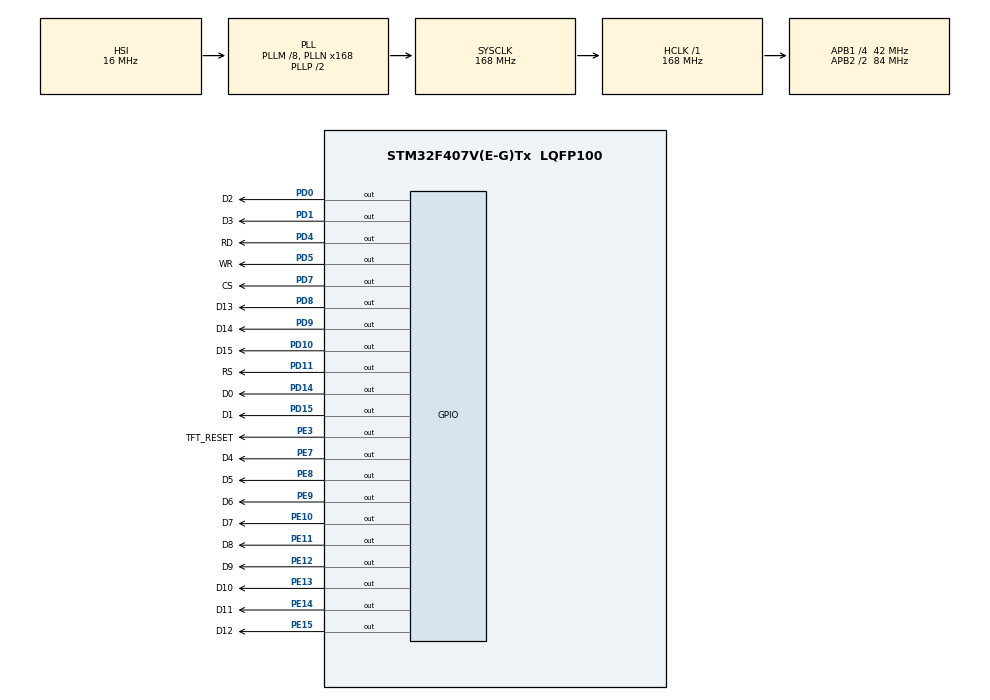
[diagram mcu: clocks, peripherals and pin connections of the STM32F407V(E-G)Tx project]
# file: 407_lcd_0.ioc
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Mcu.Family=STM32F4
Mcu.Name=STM32F407V(E-G)Tx
Mcu.Package=LQFP100
NVIC.PriorityGroup=NVIC_PRIORITYGROUP_4
PD0.GPIO_Label=D2
PD0.Signal=GPIO_Output
PD1.GPIO_Label=D3
PD1.Signal=GPIO_Output
PD10.GPIO_Label=D15
PD10.Signal=GPIO_Output
PD11.GPIO_Label=RS
PD11.Signal=GPIO_Output
PD14.GPIO_Label=D0
PD14.Signal=GPIO_Output
PD15.GPIO_Label=D1
PD15.Signal=GPIO_Output
PD4.GPIO_Label=RD
PD4.PinState=GPIO_PIN_SET
PD4.Signal=GPIO_Output
PD5.GPIO_Label=WR
PD5.PinState=GPIO_PIN_SET
PD5.Signal=GPIO_Output
PD7.GPIO_Label=CS
PD7.PinState=GPIO_PIN_SET
PD7.Signal=GPIO_Output
PD8.GPIO_Label=D13
PD8.Signal=GPIO_Output
PD9.GPIO_Label=D14
PD9.Signal=GPIO_Output
PE10.GPIO_Label=D7
PE10.Signal=GPIO_Output
PE11.GPIO_Label=D8
PE11.Signal=GPIO_Output
PE12.GPIO_Label=D9
PE12.Signal=GPIO_Output
PE13.GPIO_Label=D10
PE13.Signal=GPIO_Output
PE14.GPIO_Label=D11
PE14.Signal=GPIO_Output
PE15.GPIO_Label=D12
PE15.Signal=GPIO_Output
PE3.GPIO_Label=TFT_RESET
PE3.PinState=GPIO_PIN_SET
PE3.Signal=GPIO_Output
PE7.GPIO_Label=D4
PE7.Signal=GPIO_Output
PE8.GPIO_Label=D5
PE8.Signal=GPIO_Output
PE9.GPIO_Label=D6
PE9.Signal=GPIO_Output
PH0-OSC_IN.Mode=HSE-External-Oscillator
PH0-OSC_IN.Signal=RCC_OSC_IN
PH1-OSC_OUT.Mode=HSE-External-Oscillator
PH1-OSC_OUT.Signal=RCC_OSC_OUT
ProjectManager.HeapSize=0x200
ProjectManager.StackSize=0x400
ProjectManager.TargetToolchain=STM32CubeIDE
RCC.48MHZClocksFreq_Value=84000000
RCC.AHBFreq_Value=168000000
RCC.APB1CLKDivider=RCC_HCLK_DIV4
RCC.APB1Freq_Value=42000000
RCC.APB1TimFreq_Value=84000000
RCC.APB2CLKDivider=RCC_HCLK_DIV2
RCC.APB2Freq_Value=84000000
RCC.APB2TimFreq_Value=168000000
RCC.CortexFreq_Value=168000000
RCC.HCLKFreq_Value=168000000
RCC.HSE_VALUE=25000000
RCC.HSI_VALUE=16000000
RCC.LSE_VALUE=32768
RCC.PLLM=8
RCC.PLLN=168
RCC.SYSCLKFreq_VALUE=168000000
RCC.SYSCLKSource=RCC_SYSCLKSOURCE_PLLCLK
RCC.VCOOutputFreq_Value=336000000
board=custom

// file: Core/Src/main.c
/* USER CODE BEGIN Header */
/**
  ******************************************************************************
  * @file           : main.c
  * @brief          : Main program body
  ******************************************************************************
  * @attention
  *
  * Copyright (c) 2023 STMicroelectronics.
  * All rights reserved.
  *
  * This software is licensed under terms that can be found in the LICENSE file
  * in the root directory of this software component.
  * If no LICENSE file comes with this software, it is provided AS-IS.
  *
  ******************************************************************************
  */
/* USER CODE END Header */
#include "main.h"

/* USER CODE BEGIN Includes */
#include "ILI9341_STM32_Driver.h"
/* USER CODE END Includes */

void SystemClock_Config(void);
static void MX_GPIO_Init(void);

int main(void)
{

  /* MCU Configuration--------------------------------------------------------*/

  /* Reset of all peripherals, Initializes the Flash interface and the Systick. */
  HAL_Init();

  /* Configure the system clock */
  SystemClock_Config();

  /* Initialize all configured peripherals */
  MX_GPIO_Init();
  /* USER CODE BEGIN 2 */
  ILI9341_Init();
  /* USER CODE END 2 */

  /* Infinite loop */
  /* USER CODE BEGIN WHILE */
#if (TEST_TFT_LCD == 1)
  uint32_t i = 0;
  extern uint32_t lcd_colors[19];
#endif

  while (1)
  {
#if (TEST_TFT_LCD == 1)
	  ILI9341_Lcd_Clear(lcd_colors[i]);
#if 0
	  ILI9341_Draw_Num(0, 40, 2345, 4, RED, WHITE);
#endif
	  i = (i + 1) % 19;
	  HAL_Delay(1000);
#endif
	  HAL_GPIO_WritePin(GPIO, GPIO_PIN, SET);
	  HAL_GPIO_WritePin(GPIO, GPIO_PIN, RESET);

    /* USER CODE END WHILE */

  }
}

void SystemClock_Config(void)
{
  RCC_OscInitTypeDef RCC_OscInitStruct = {0};
  RCC_ClkInitTypeDef RCC_ClkInitStruct = {0};

  /** Configure the main internal regulator output voltage
  */
  __HAL_RCC_PWR_CLK_ENABLE();
  __HAL_PWR_VOLTAGESCALING_CONFIG(PWR_REGULATOR_VOLTAGE_SCALE1);

  /** Initializes the RCC Oscillators according to the specified parameters
  * in the RCC_OscInitTypeDef structure.
  */
  RCC_OscInitStruct.OscillatorType = RCC_OSCILLATORTYPE_HSI;
  RCC_OscInitStruct.HSIState = RCC_HSI_ON;
  RCC_OscInitStruct.HSICalibrationValue = RCC_HSICALIBRATION_DEFAULT;
  RCC_OscInitStruct.PLL.PLLState = RCC_PLL_ON;
  RCC_OscInitStruct.PLL.PLLSource = RCC_PLLSOURCE_HSI;
  RCC_OscInitStruct.PLL.PLLM = 8;
  RCC_OscInitStruct.PLL.PLLN = 168;
  RCC_OscInitStruct.PLL.PLLP = RCC_PLLP_DIV2;
  RCC_OscInitStruct.PLL.PLLQ = 4;
  if (HAL_RCC_OscConfig(&RCC_OscInitStruct) != HAL_OK)
  {
    Error_Handler();
  }

  /** Initializes the CPU, AHB and APB buses clocks
  */
  RCC_ClkInitStruct.ClockType = RCC_CLOCKTYPE_HCLK|RCC_CLOCKTYPE_SYSCLK
                              |RCC_CLOCKTYPE_PCLK1|RCC_CLOCKTYPE_PCLK2;
  RCC_ClkInitStruct.SYSCLKSource = RCC_SYSCLKSOURCE_PLLCLK;
  RCC_ClkInitStruct.AHBCLKDivider = RCC_SYSCLK_DIV1;
  RCC_ClkInitStruct.APB1CLKDivider = RCC_HCLK_DIV4;
  RCC_ClkInitStruct.APB2CLKDivider = RCC_HCLK_DIV2;

  if (HAL_RCC_ClockConfig(&RCC_ClkInitStruct, FLASH_LATENCY_5) != HAL_OK)
  {
    Error_Handler();
  }
}

static void MX_GPIO_Init(void)
{
  GPIO_InitTypeDef GPIO_InitStruct = {0};

  /* GPIO Ports Clock Enable */
  __HAL_RCC_GPIOE_CLK_ENABLE();
  __HAL_RCC_GPIOH_CLK_ENABLE();
  __HAL_RCC_GPIOD_CLK_ENABLE();

  /*Configure GPIO pin Output Level */
  HAL_GPIO_WritePin(TFT_RESET_GPIO_Port, TFT_RESET_Pin, GPIO_PIN_SET);

  /*Configure GPIO pin Output Level */
  HAL_GPIO_WritePin(GPIOE, D4_Pin|D5_Pin|D6_Pin|D7_Pin
                          |D8_Pin|D9_Pin|D10_Pin|D11_Pin
                          |D12_Pin, GPIO_PIN_RESET);

  /*Configure GPIO pin Output Level */
  HAL_GPIO_WritePin(GPIOD, D13_Pin|D14_Pin|D15_Pin|RS_Pin
                          |D0_Pin|D1_Pin|D2_Pin|D3_Pin, GPIO_PIN_RESET);

  /*Configure GPIO pin Output Level */
  HAL_GPIO_WritePin(GPIOD, RD_Pin|WR_Pin|CS_Pin, GPIO_PIN_SET);

  /*Configure GPIO pins : TFT_RESET_Pin D4_Pin D5_Pin D6_Pin
                           D7_Pin D8_Pin D9_Pin D10_Pin
                           D11_Pin D12_Pin */
  GPIO_InitStruct.Pin = TFT_RESET_Pin|D4_Pin|D5_Pin|D6_Pin
                          |D7_Pin|D8_Pin|D9_Pin|D10_Pin
                          |D11_Pin|D12_Pin;
  GPIO_InitStruct.Mode = GPIO_MODE_OUTPUT_PP;
  GPIO_InitStruct.Pull = GPIO_NOPULL;
  GPIO_InitStruct.Speed = GPIO_SPEED_FREQ_LOW;
  HAL_GPIO_Init(GPIOE, &GPIO_InitStruct);

  /*Configure GPIO pins : D13_Pin D14_Pin D15_Pin RS_Pin
                           D0_Pin D1_Pin D2_Pin D3_Pin
                           RD_Pin WR_Pin CS_Pin */
  GPIO_InitStruct.Pin = D13_Pin|D14_Pin|D15_Pin|RS_Pin
                          |D0_Pin|D1_Pin|D2_Pin|D3_Pin
                          |RD_Pin|WR_Pin|CS_Pin;
  GPIO_InitStruct.Mode = GPIO_MODE_OUTPUT_PP;
  GPIO_InitStruct.Pull = GPIO_NOPULL;
  GPIO_InitStruct.Speed = GPIO_SPEED_FREQ_LOW;
  HAL_GPIO_Init(GPIOD, &GPIO_InitStruct);

}

void Error_Handler(void)
{
  __disable_irq();
  while (1)
  {
  }
}
